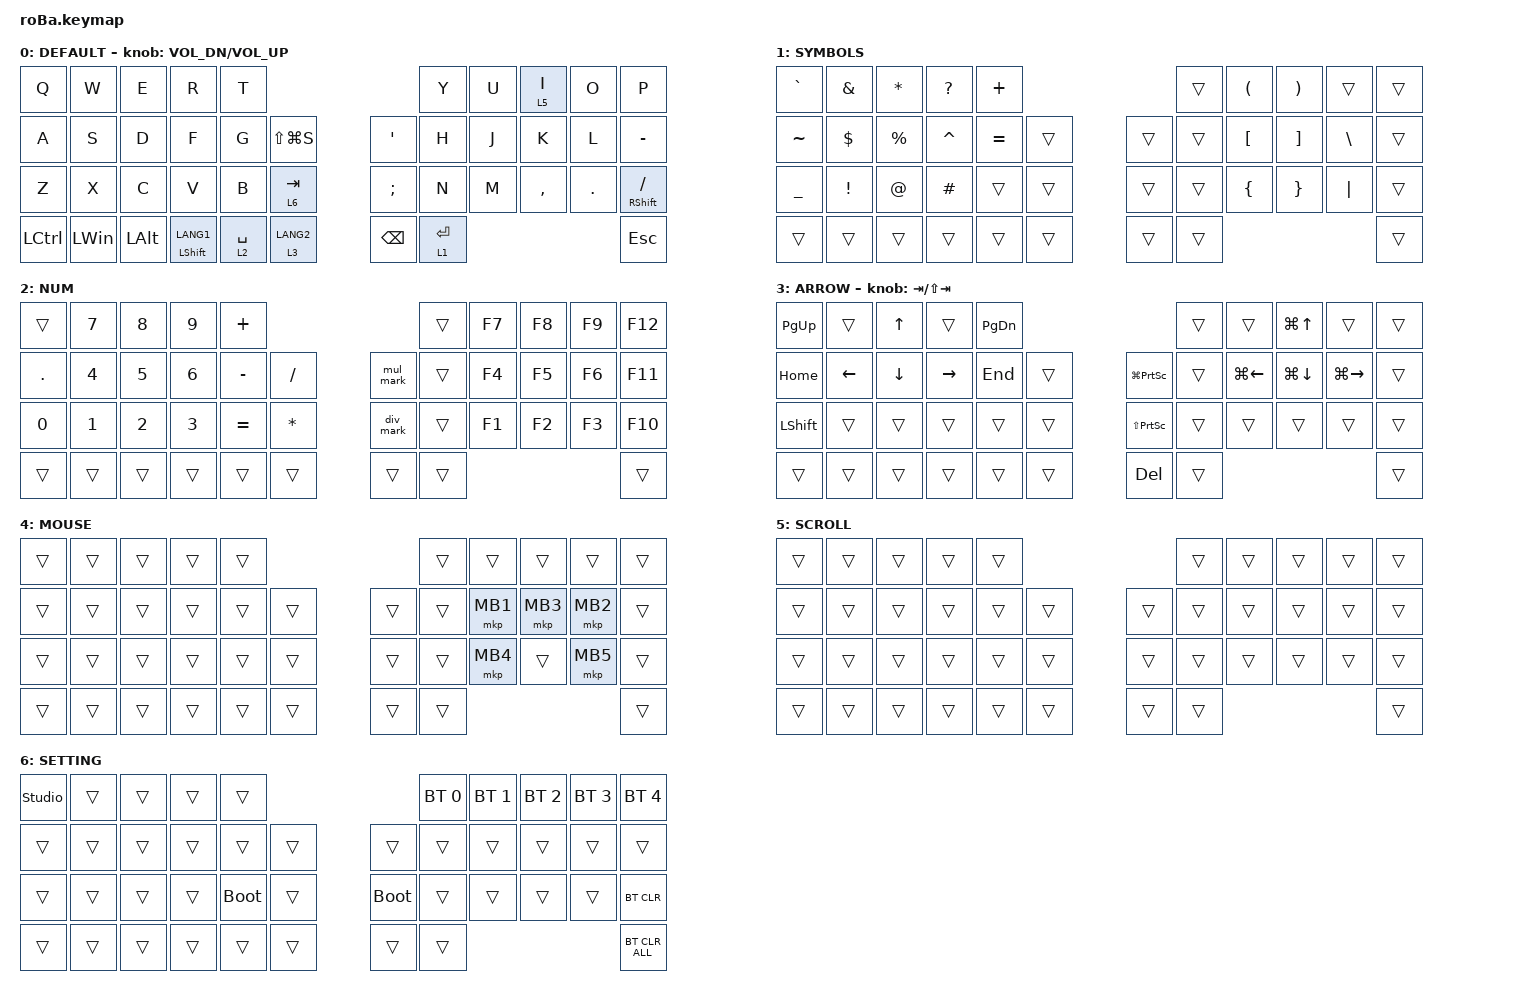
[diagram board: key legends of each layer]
#include <behaviors.dtsi>
#include <dt-bindings/zmk/bt.h>
#include <dt-bindings/zmk/keys.h>
#include <dt-bindings/zmk/pointing.h>

// キー番号 (key-positions / レイヤー内の並び順):
//   0  1  2  3  4              5  6  7  8  9
//  10 11 12 13 14 15       16 17 18 19 20 21
//  22 23 24 25 26 27       28 29 30 31 32 33
//  34 35 36 37 38 39       40 41             42
// 27 = 左エンコーダー押し込み, 40/41 = 右親指, 42 = 右手一番右下

&mt {
    flavor = "balanced";
    quick-tap-ms = <0>;
};

&lt {
    quick-tap-ms = <300>;
    flavor = "balanced";
};

&trackball {
    automouse-layer = <4>;
    scroll-layers = <5>;
};

/ {
    combos {
        compatible = "zmk,combos";

        // require-prior-idle-ms: 直前 150ms 以内に別キーを打っていたら発動しない
        // (高速タイピング中のロール打鍵 "sd" "ui" 等での誤爆防止)

        tab {
            bindings = <&kp TAB>;
            key-positions = <11 12>;
            require-prior-idle-ms = <150>;
        };

        shift_tab {
            bindings = <&kp LS(TAB)>;
            key-positions = <12 13>;
            require-prior-idle-ms = <150>;
        };

        eq {
            bindings = <&kp EQUAL>;
            key-positions = <24 25>;
            require-prior-idle-ms = <150>;
        };

        parens {
            bindings = <&parens>;
            key-positions = <6 7>;
            require-prior-idle-ms = <150>;
        };

        braces {
            bindings = <&braces>;
            key-positions = <18 19>;
            require-prior-idle-ms = <150>;
        };

        brackets {
            bindings = <&brackets>;
            key-positions = <30 31>;
            require-prior-idle-ms = <150>;
        };

        win_snap_left {
            bindings = <&kp LG(LS(LEFT_ARROW))>;
            key-positions = <0 10>;
            require-prior-idle-ms = <150>;
        };

        win_snap_right {
            bindings = <&kp LG(LS(RIGHT_ARROW))>;
            key-positions = <4 14>;
            require-prior-idle-ms = <150>;
        };
    };

    macros {
        to_layer_0: to_layer_0 {
            compatible = "zmk,behavior-macro-one-param";
            #binding-cells = <1>;
            bindings = <&to 0 &macro_param_1to1 &kp MACRO_PLACEHOLDER>;
            label = "TO_LAYER_0";
        };

        parens: parens {
            compatible = "zmk,behavior-macro";
            #binding-cells = <0>;
            bindings = <&kp LEFT_PARENTHESIS &kp RIGHT_PARENTHESIS &kp LEFT_ARROW>;
            label = "PARENS";
        };

        braces: braces {
            compatible = "zmk,behavior-macro";
            #binding-cells = <0>;
            bindings = <&kp LEFT_BRACE &kp RIGHT_BRACE &kp LEFT_ARROW>;
            label = "BRACES";
        };

        brackets: brackets {
            compatible = "zmk,behavior-macro";
            #binding-cells = <0>;
            bindings = <&kp LEFT_BRACKET &kp RIGHT_BRACKET &kp LEFT_ARROW>;
            label = "BRACKETS";
        };

        // Windows の Alt コード入力 (Alt + テンキー 0215 = ×, 0247 = ÷)。NumLock ON が前提
        mul_mark: mul_mark {
            compatible = "zmk,behavior-macro";
            #binding-cells = <0>;
            bindings =
                <&macro_press>,
                <&kp LALT>,
                <&macro_tap>,
                <&kp KP_NUMBER_0 &kp KP_NUMBER_2 &kp KP_NUMBER_1 &kp KP_NUMBER_5>,
                <&macro_release>,
                <&kp LALT>;

            label = "MUL_MARK";
        };

        div_mark: div_mark {
            compatible = "zmk,behavior-macro";
            #binding-cells = <0>;
            bindings =
                <&macro_press>,
                <&kp LALT>,
                <&macro_tap>,
                <&kp KP_NUMBER_0 &kp KP_NUMBER_2 &kp KP_NUMBER_4 &kp KP_NUMBER_7>,
                <&macro_release>,
                <&kp LALT>;

            label = "DIV_MARK";
        };
    };

    behaviors {
        lt_to_layer_0: lt_to_layer_0 {
            compatible = "zmk,behavior-hold-tap";
            label = "LAYER_TAP_TO_0";
            bindings = <&mo>, <&to_layer_0>;

            #binding-cells = <2>;
            tapping-term-ms = <200>;
        };

        // 文字キー (I) 上のレイヤータップ用。require-prior-idle-ms で
        // "in" "io" のようなロール打鍵時に長押し判定されて i が消えるのを防ぐ
        scroll_lt: scroll_lt {
            compatible = "zmk,behavior-hold-tap";
            label = "SCROLL_LAYER_TAP";
            bindings = <&mo>, <&kp>;

            #binding-cells = <2>;
            flavor = "balanced";
            tapping-term-ms = <200>;
            quick-tap-ms = <150>;
            require-prior-idle-ms = <150>;
        };
    };

    keymap {
        compatible = "zmk,keymap";

        DEFAULT {
            bindings = <
&kp Q      &kp W         &kp E         &kp R                 &kp T                                                       &kp Y        &kp U  &scroll_lt 5 I  &kp O    &kp P
&kp A      &kp S         &kp D         &kp F                 &kp G        &kp LS(LG(S))               &kp SQT            &kp H        &kp J  &kp K           &kp L    &kp MINUS
&kp Z      &kp X         &kp C         &kp V                 &kp B        &lt 6 TAB                   &kp SEMICOLON      &kp N        &kp M  &kp COMMA       &kp DOT  &mt RIGHT_SHIFT SLASH
&kp LCTRL  &kp LEFT_WIN  &kp LEFT_ALT  &mt LEFT_SHIFT LANG1  &lt 2 SPACE  &lt_to_layer_0 3 LANG2      &kp BACKSPACE      &lt 1 ENTER                                  &kp ESCAPE
            >;

            sensor-bindings = <&inc_dec_kp C_VOL_DN C_VOL_UP>;
        };

        SYMBOLS {
            bindings = <
&kp GRAVE  &kp AMPERSAND  &kp ASTRK    &kp QUESTION  &kp PLUS                       &trans  &kp LEFT_PARENTHESIS  &kp RIGHT_PARENTHESIS  &trans         &trans
&kp TILDE  &kp DOLLAR     &kp PERCENT  &kp CARET     &kp EQUAL  &trans      &trans  &trans  &kp LEFT_BRACKET      &kp RIGHT_BRACKET      &kp BACKSLASH  &trans
&kp UNDER  &kp EXCL       &kp AT       &kp HASH      &trans     &trans      &trans  &trans  &kp LEFT_BRACE        &kp RIGHT_BRACE        &kp PIPE       &trans
&trans     &trans         &trans       &trans        &trans     &trans      &trans  &trans                                                              &trans
            >;
        };

        NUM {
            bindings = <
&trans        &kp N7  &kp N8  &kp N9  &kp PLUS                                &trans     &kp F7  &kp F8  &kp F9  &kp F12
&kp DOT       &kp N4  &kp N5  &kp N6  &kp MINUS  &kp SLASH            &mul_mark  &trans     &kp F4  &kp F5  &kp F6  &kp F11
&kp N0        &kp N1  &kp N2  &kp N3  &kp EQUAL  &kp ASTRK            &div_mark  &trans     &kp F1  &kp F2  &kp F3  &kp F10
&trans        &trans  &trans  &trans  &trans     &trans               &trans     &trans                          &trans
            >;
        };

        ARROW {
            bindings = <
&kp PG_UP   &trans          &kp UP_ARROW    &trans           &kp PG_DN                             &trans  &trans              &kp LG(UP_ARROW)    &trans               &trans
&kp HOME    &kp LEFT_ARROW  &kp DOWN_ARROW  &kp RIGHT_ARROW  &kp END    &trans      &kp LG(PSCRN)  &trans  &kp LG(LEFT_ARROW)  &kp LG(DOWN_ARROW)  &kp LG(RIGHT_ARROW)  &trans
&kp LSHIFT  &trans          &trans          &trans           &trans     &trans      &kp LS(PSCRN)  &trans  &trans              &trans              &trans               &trans
&trans      &trans          &trans          &trans           &trans     &trans      &kp DEL        &trans                                                               &trans
            >;

            sensor-bindings = <&inc_dec_kp TAB LS(TAB)>;
        };

        MOUSE {
            bindings = <
&trans  &trans  &trans  &trans  &trans                      &trans  &trans    &trans    &trans    &trans
&trans  &trans  &trans  &trans  &trans  &trans      &trans  &trans  &mkp MB1  &mkp MB3  &mkp MB2  &trans
&trans  &trans  &trans  &trans  &trans  &trans      &trans  &trans  &mkp MB4  &trans    &mkp MB5  &trans
&trans  &trans  &trans  &trans  &trans  &trans      &trans  &trans                                &trans
            >;
        };

        SCROLL {
            bindings = <
&trans  &trans  &trans  &trans  &trans                      &trans  &trans  &trans  &trans  &trans
&trans  &trans  &trans  &trans  &trans  &trans      &trans  &trans  &trans  &trans  &trans  &trans
&trans  &trans  &trans  &trans  &trans  &trans      &trans  &trans  &trans  &trans  &trans  &trans
&trans  &trans  &trans  &trans  &trans  &trans      &trans  &trans                          &trans
            >;
        };

        SETTING {
            bindings = <
&studio_unlock  &trans  &trans  &trans  &trans                                 &bt BT_SEL 0  &bt BT_SEL 1  &bt BT_SEL 2  &bt BT_SEL 3  &bt BT_SEL 4
&trans          &trans  &trans  &trans  &trans       &trans      &trans        &trans        &trans        &trans        &trans        &trans
&trans          &trans  &trans  &trans  &bootloader  &trans      &bootloader   &trans        &trans        &trans        &trans        &bt BT_CLR
&trans          &trans  &trans  &trans  &trans       &trans      &trans        &trans                                                  &bt BT_CLR_ALL
            >;
        };
    };
};
